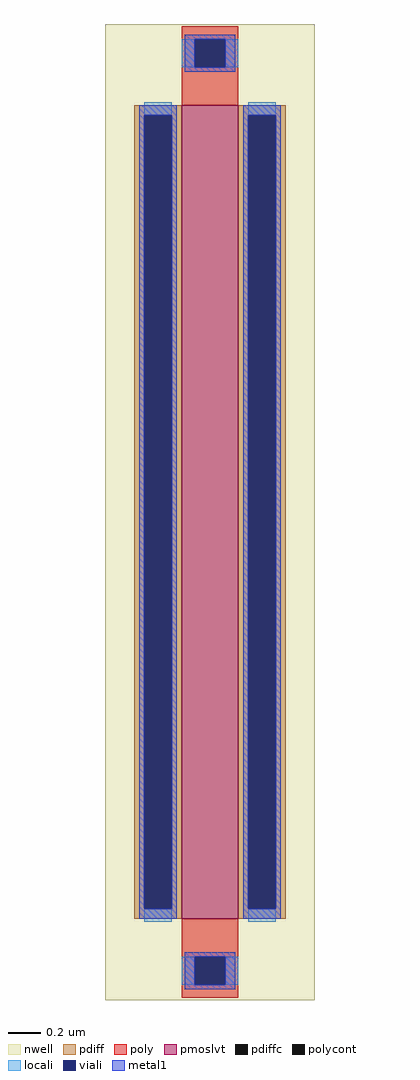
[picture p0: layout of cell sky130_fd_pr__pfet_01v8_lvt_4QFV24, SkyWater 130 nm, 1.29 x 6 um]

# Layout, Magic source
magic
tech sky130A
magscale 1 2
<< nwell >>
rect -129 -600 129 600
<< pmoslvt >>
rect -35 -500 35 500
<< pdiff >>
rect -93 488 -35 500
rect -93 -488 -81 488
rect -47 -488 -35 488
rect -93 -500 -35 -488
rect 35 488 93 500
rect 35 -488 47 488
rect 81 -488 93 488
rect 35 -500 93 -488
<< pdiffc >>
rect -81 -488 -47 488
rect 47 -488 81 488
<< poly >>
rect -35 581 35 597
rect -35 547 -19 581
rect 19 547 35 581
rect -35 500 35 547
rect -35 -547 35 -500
rect -35 -581 -19 -547
rect 19 -581 35 -547
rect -35 -597 35 -581
<< polycont >>
rect -19 547 19 581
rect -19 -581 19 -547
<< locali >>
rect -35 547 -19 581
rect 19 547 35 581
rect -81 488 -47 504
rect -81 -504 -47 -488
rect 47 488 81 504
rect 47 -504 81 -488
rect -35 -581 -19 -547
rect 19 -581 35 -547
<< viali >>
rect -19 547 19 581
rect -81 -488 -47 488
rect 47 -488 81 488
rect -19 -581 19 -547
<< metal1 >>
rect -31 581 31 587
rect -31 547 -19 581
rect 19 547 31 581
rect -31 541 31 547
rect -87 488 -41 500
rect -87 -488 -81 488
rect -47 -488 -41 488
rect -87 -500 -41 -488
rect 41 488 87 500
rect 41 -488 47 488
rect 81 -488 87 488
rect 41 -500 87 -488
rect -31 -547 31 -541
rect -31 -581 -19 -547
rect 19 -581 31 -547
rect -31 -587 31 -581
<< properties >>
string gencell sky130_fd_pr__pfet_01v8_lvt
string library sky130
string parameters w 5.0 l 0.35 m 1 nf 1 diffcov 100 polycov 100 guard 0 glc 1 grc 1 gtc 1 gbc 1 tbcov 100 rlcov 100 topc 1 botc 1 poverlap 0 doverlap 1 lmin 0.35 wmin 0.42 compatible {sky130_fd_pr__pfet_01v8  sky130_fd_pr__pfet_01v8_lvt sky130_fd_pr__pfet_01v8_hvt  sky130_fd_pr__pfet_g5v0d10v5} full_metal 0 viasrc 100 viadrn 100 viagate 100 viagb 0 viagr 0 viagl 0 viagt 0
<< end >>
